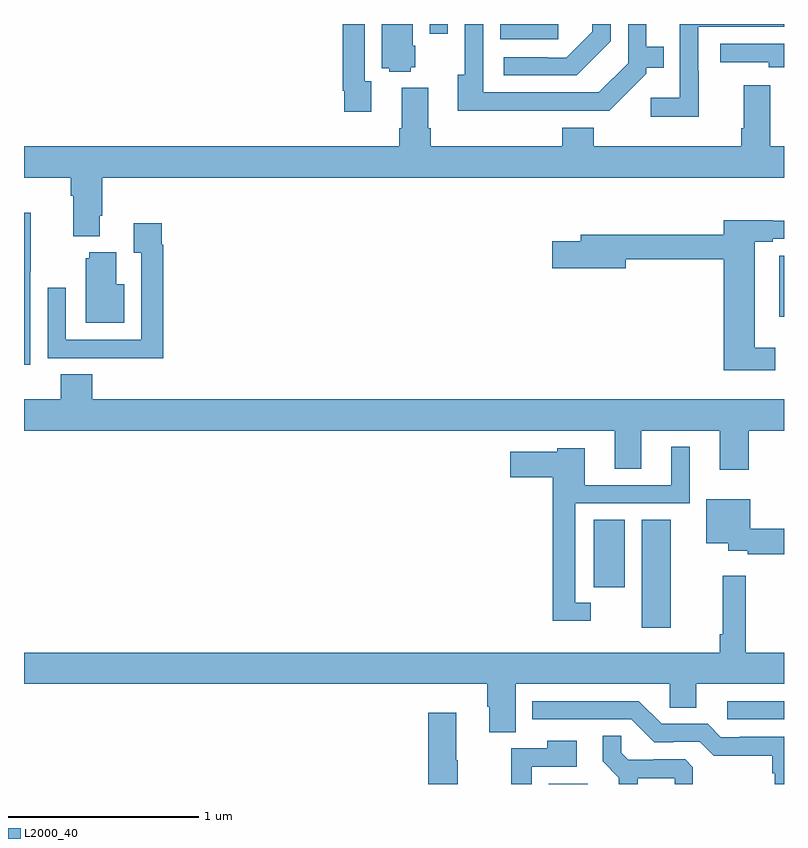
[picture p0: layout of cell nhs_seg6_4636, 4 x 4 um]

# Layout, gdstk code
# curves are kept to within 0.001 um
import gdstk
lib = gdstk.Library(unit=1e-6, precision=1e-09)
def R(c, l, rs):  # rectangles x0, y0, x1, y1
    for r in rs: c.add(gdstk.rectangle(r[:2], r[2:], *l))
def P(c, l, *ps):  # polygons
    for p in ps: c.add(gdstk.Polygon(p, *l))
L2000_40 = (2000, 40)

nhs_seg6_4636 = lib.new_cell('nhs_seg6_4636')
R(nhs_seg6_4636, L2000_40, [(387.761,921.5,387.967,921.502), (388.701,921.84,389,921.936), (388.25,922.323,388.405,922.892), (387.998,922.536,388.162,922.892), (387.506,925.419,387.811,925.5), (387.135,925.449,387.231,925.5)])
P(nhs_seg6_4636, L2000_40, [(387.036,925.272),(387.058,925.272),(387.058,925.386),(387.046,925.386),(387.046,925.5),(386.882,925.5),(386.882,925.268),(386.922,925.268),(386.922,925.25),(387.036,925.25)],
  [(387.749,925.044),(388.08,925.044),(388.275,925.239),(388.275,925.271),(388.367,925.271),(388.367,925.381),(388.276,925.381),(388.276,925.5),(388.179,925.5),(388.179,925.293),(388.026,925.14),(387.417,925.14),(387.417,925.5),(387.321,925.5),(387.321,925.234),(387.284,925.234),(387.284,925.043)],
  [(386.827,925.199),(386.793,925.199),(386.793,925.5),(386.677,925.5),(386.677,925.15),(386.685,925.15),(386.685,925.038),(386.827,925.038)],
  [(388.089,925.409),(388.089,925.5),(387.992,925.5),(387.992,925.46),(387.855,925.323),(387.755,925.323),(387.755,925.326),(387.525,925.326),(387.525,925.23),(387.91,925.23)],
  [(388.551,925.253),(388.548,925.253),(388.548,925.485),(389,925.485),(389,925.5),(388.452,925.5),(388.452,925.111),(388.299,925.111),(388.299,925.013),(388.551,925.013)],
  [(389,925.395),(388.665,925.395),(388.665,925.299),(388.92,925.299),(388.92,925.272),(389,925.272)],
  [(385.399,924.49),(385.412,924.49),(385.412,924.692),(389,924.692),(389,924.856),(388.927,924.856),(388.927,925.177),(388.787,925.177),(388.787,924.952),(388.775,924.952),(388.775,924.856),(387.998,924.856),(387.998,924.955),(387.833,924.955),(387.833,924.856),(387.14,924.856),(387.14,924.952),(387.127,924.952),(387.127,925.165),(386.987,925.165),(386.987,924.952),(386.975,924.952),(386.975,924.856),(385,924.856),(385,924.692),(385.247,924.692),(385.247,924.596),(385.259,924.596),(385.259,924.383),(385.399,924.383)],
  [(385.032,924.199),(385.035,924.199),(385.035,924.506),(385,924.506),(385,923.706),(385.032,923.706)],
  [(388.954,923.795),(388.846,923.795),(388.846,924.353),(388.942,924.353),(388.942,924.369),(389,924.369),(389,924.465),(388.942,924.465),(388.942,924.468),(388.682,924.468),(388.682,924.391),(387.929,924.391),(387.929,924.357),(387.78,924.357),(387.78,924.215),(388.168,924.215),(388.168,924.262),(388.682,924.262),(388.682,923.678),(388.954,923.678)],
  [(385.733,924.338),(385.726,924.338),(385.726,924.451),(385.577,924.451),(385.577,924.295),(385.617,924.295),(385.617,923.838),(385.221,923.838),(385.221,924.112),(385.125,924.112),(385.125,923.742),(385.441,923.742),(385.441,923.741),(385.733,923.741)],
  [(385.528,924.13),(385.486,924.13),(385.486,924.298),(385.343,924.298),(385.343,924.267),(385.325,924.267),(385.325,923.927),(385.528,923.927)],
  [(389,924.279),(388.975,924.279),(388.975,924.176),(388.974,924.176),(388.974,923.958),(389,923.958)],
  [(388.814,923.36),(389,923.36),(389,923.524),(385.358,923.524),(385.358,923.657),(385.193,923.657),(385.193,923.524),(385,923.524),(385,923.36),(388.109,923.36),(388.109,923.158),(388.249,923.158),(388.249,923.36),(388.661,923.36),(388.661,923.154),(388.814,923.154)],
  [(387.982,922.455),(387.9,922.455),(387.9,922.977),(388.504,922.977),(388.504,923.275),(388.406,923.275),(388.406,923.073),(387.952,923.073),(387.952,923.266),(387.807,923.266),(387.807,923.248),(387.558,923.248),(387.558,923.114),(387.784,923.114),(387.784,922.358),(387.982,922.358)],
  [(389,922.844),(388.822,922.844),(388.822,922.999),(388.592,922.999),(388.592,922.766),(388.706,922.766),(388.706,922.727),(388.81,922.727),(388.81,922.708),(389,922.708)],
  [(387.589,922.028),(388.398,922.028),(388.398,921.901),(388.537,921.901),(388.537,922.028),(389,922.028),(389,922.192),(388.799,922.192),(388.799,922.597),(388.678,922.597),(388.678,922.288),(388.663,922.288),(388.663,922.192),(385,922.192),(385,922.028),(387.437,922.028),(387.437,921.906),(387.449,921.906),(387.449,921.772),(387.589,921.772)],
  [(389,921.75),(388.768,921.75),(388.768,921.747),(388.668,921.747),(388.599,921.816),(388.356,921.816),(388.236,921.936),(387.674,921.936),(387.674,921.84),(388.197,921.84),(388.317,921.72),(388.418,921.72),(388.418,921.723),(388.557,921.723),(388.63,921.65),(388.938,921.65),(388.938,921.557),(388.95,921.557),(388.95,921.5),(389,921.5)],
  [(387.282,921.626),(387.274,921.626),(387.274,921.874),(387.128,921.874),(387.128,921.5),(387.282,921.5)],
  [(388.229,921.53),(388.426,921.53),(388.426,921.5),(388.52,921.5),(388.52,921.589),(388.479,921.63),(388.314,921.63),(388.314,921.627),(388.18,921.627),(388.143,921.664),(388.143,921.755),(388.045,921.755),(388.045,921.619),(388.131,921.533),(388.131,921.5),(388.229,921.5)],
  [(387.672,921.591),(387.91,921.591),(387.91,921.727),(387.754,921.727),(387.754,921.687),(387.564,921.687),(387.564,921.5),(387.672,921.5)])

lib.write_gds('nhs_seg6_4636.gds')
